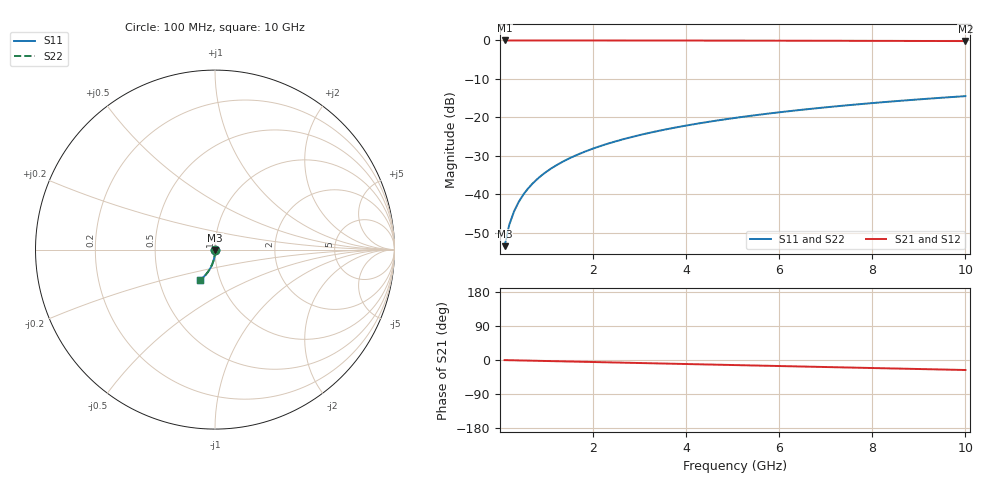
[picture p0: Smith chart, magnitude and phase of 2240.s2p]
# Hz S RI R 50.00
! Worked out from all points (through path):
!   100 points, 100 MHz to 10 GHz, reference 50 ohm
!   highest |S21| = -0.01 dB at 100 MHz (marker M1); lowest = -0.2 dB at 10 GHz (marker M2)
!   group delay of S21, straight-line fit = 7.34 ps
!   lowest |S11| = -53.5 dB at 100 MHz (marker M3), VSWR 1.00, Z = 50.1 - j0.197 ohm
!   |S11| at or under -10 dB: start of sweep to end of sweep
!   |S22| runs from -53.5 to -14.5 dB; largest |S21 - S12| = 0
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1e8  0.000772 -0.00197  0.9992 -0.00463  0.9992 -0.00463  0.000772 -0.00197
2e8  0.000747 -0.00393  0.9992 -0.00926  0.9992 -0.00926  0.000747 -0.00393
3e8  0.000702 -0.0059  0.9991 -0.0139  0.9991 -0.0139  0.000702 -0.0059
4e8  0.000638 -0.00787  0.999 -0.0185  0.999 -0.0185  0.000638 -0.00787
5e8  0.000556 -0.00983  0.9989 -0.0231  0.9989 -0.0231  0.000556 -0.00983
6e8  0.000455 -0.0118  0.9987 -0.0278  0.9987 -0.0278  0.000455 -0.0118
7e8  0.000336 -0.0138  0.9986 -0.0324  0.9986 -0.0324  0.000336 -0.0138
8e8  0.000198 -0.0157  0.9984 -0.037  0.9984 -0.037  0.000198 -0.0157
9e8  4.21e-05 -0.0177  0.9981 -0.0417  0.9981 -0.0417  4.21e-05 -0.0177
1.1e9  -0.000325 -0.0216  0.9976 -0.0509  0.9976 -0.0509  -0.000325 -0.0216
1.4e9  -0.00101 -0.0275  0.9967 -0.0648  0.9967 -0.0648  -0.00101 -0.0275
1.8e9  -0.00218 -0.0353  0.995 -0.0832  0.995 -0.0832  -0.00218 -0.0353
2.1e9  -0.00325 -0.0411  0.9935 -0.097  0.9935 -0.097  -0.00325 -0.0411
2.5e9  -0.00492 -0.0488  0.9912 -0.1153  0.9912 -0.1153  -0.00492 -0.0488
2.9e9  -0.00687 -0.0564  0.9885 -0.1336  0.9885 -0.1336  -0.00687 -0.0564
3.4e9  -0.00971 -0.0658  0.9845 -0.1564  0.9845 -0.1564  -0.00971 -0.0658
4.2e9  -0.0151 -0.0806  0.9769 -0.1925  0.9769 -0.1925  -0.0151 -0.0806
5.1e9  -0.0225 -0.0966  0.9664 -0.2326  0.9664 -0.2326  -0.0225 -0.0966
5.9e9  -0.0302 -0.1103  0.9556 -0.2676  0.9556 -0.2676  -0.0302 -0.1103
6.7e9  -0.0388 -0.1234  0.9433 -0.302  0.9433 -0.302  -0.0388 -0.1234
8.4e9  -0.0601 -0.1488  0.9126 -0.3728  0.9126 -0.3728  -0.0601 -0.1488
1e10  -0.0833 -0.1693  0.8785 -0.436  0.8785 -0.436  -0.0833 -0.1693
